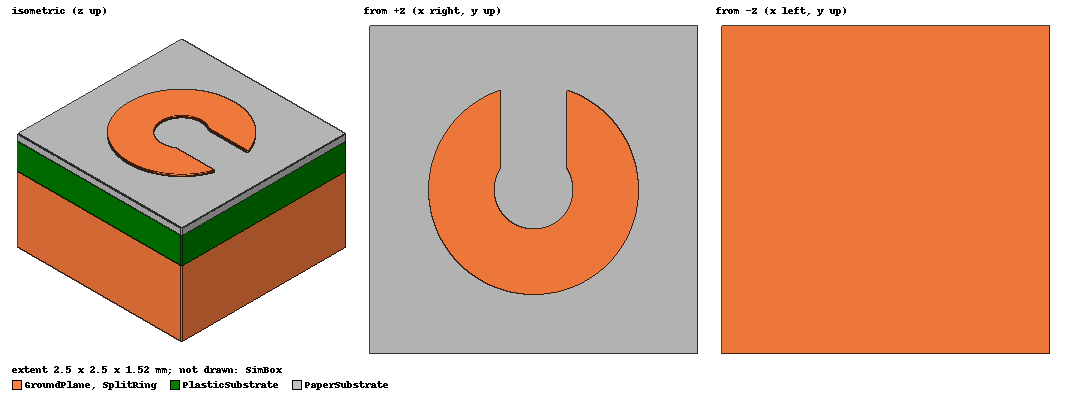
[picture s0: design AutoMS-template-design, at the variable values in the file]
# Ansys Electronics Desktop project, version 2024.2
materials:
  PVC plastic: permittivity=2.7 dielectric_loss_tangent=0.007
  Paper: permittivity=3.78 dielectric_loss_tangent=0.01
  aluminum: permeability=1.000021 conductivity=38000000
  vacuum: permittivity=1

design AutoMS-template-design (HFSS, HFSS Modal Network, model units mm)
options: Save_Adaptive_support_files
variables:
  L = llambda/2  # Surface element spaceing, ie, per element total size
  H = 0.1mm  # Thickness of the paper substrate paper
  H_a = llambda/2  # Not used! Extra air space above the pattern, for floquetPort simulation accuracy
  llambda = 5mm  # Wavelength of the target operating frequency band, To ensure that we have at least half wavelength air space above the pattern to allow accurate FloquetPort simulation
  h_pvc = 0.4mm  # Thickness of the PVC substrate layer, including the two air gaps
  t_metal = 20um  # thickness of the metallic pattern printed
  R1 = 0.8mm  # Outter circle radius of the split ring pattern
  R2 = R1-Rw  # Inner circle radius
  G = 0.5mm  # Gap of the split ring opening
  G_angle = 0deg  # Rotation Angle of the split ring pattern, orientation of the C shaped opening
  Rw = 0.5mm  # Radius difference between the two circles of the split ring pattern, ie, width of the C shaped pattern
  t_plate = 1mm  # Thickness of the ground plane metal plate
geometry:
  SimBox [vacuum] = box(corner=(0mm, 0mm, -llambda/2-t_plate), size=(L, L, llambda+H_a+(h+h_pvc+t_metal)+t_plate))
  coordinate_system RelativeCS1 = origin=(L/2, L/2, 0mm) x=(1mm, 0mm, 0mm) y=(0mm, 1mm, 0mm)
  GroundPlane [aluminum] = rectangle(corner=(-L/2, -L/2, -t_plate), x_size=L, y_size=L) in RelativeCS1
  GroundPlane.thicken(t_plate)
  PaperSubstrate [Paper] = box(corner=(0mm, 0mm, h_pvc), size=(L, L, h))
  PlasticSubstrate [PVC plastic] = box(corner=(0mm, 0mm, 0mm), size=(L, L, h_pvc))
  SplitRing [aluminum] = circle(normal=Z, centre=(0, 0, h_pvc+h), radius=R1) in RelativeCS1
  SplitRing.thicken(t_metal)
  Circle2 = circle(normal=Z, centre=(0, 0, h_pvc+h), radius=R2) in RelativeCS1
  Circle2.thicken(t_metal)
  SplitRing.subtract(Circle2)
  Rectangle26 = rectangle(corner=(-G/2, 0mm, h_pvc+h), x_size=G, y_size=R1) in RelativeCS1
  Rectangle26.thicken(t_metal)
  Rectangle26.rotate(axis=Z, angle=G_angle) in RelativeCS1
  SplitRing.subtract(Rectangle26)
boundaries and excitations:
  Master1: Primary Faces=SimBox.face(-y) CoordSysVector{(0, 0, 0.56693801) -> (2.5, 0, 0.56693801)} ReverseV
  Master2: Primary Faces=SimBox.face(-x) CoordSysVector{(0, 0, 0.56693801) -> (0, 2.5, 0.56693801)}
  Slave1: Secondary Faces=SimBox.face(+y) CoordSysVector{(0, 2.5, 0.56693801) -> (2.5, 2.5, 0.56693801)} primary=Master1 PhaseDelay=UseScanAngle Phi=0 Theta=0
  Slave2: Secondary Faces=SimBox.face(+x) CoordSysVector{(2.5, 0, 0.56693801) -> (2.5, 2.5, 0.56693801)} ReverseV primary=Master2 PhaseDelay=UseScanAngle Phi=0 Theta=0
  FloquetPort1: Floquet Port Faces=SimBox.face(+z) NumModes=2 DeembedDist=llambda/2+h_a Modes{Mode1{CharImp=Zpi} Mode2{CharImp=Zpi}} PhaseDelay=UseScanAngle Phi=0 Theta=0 LatticeAVector{(0, 0, 5.52) -> (2.5, 0, 5.52)} LatticeBVector{(0, 0, 5.52) -> (0, 2.5, 5.52)} ModesList{Mode{ModeNumber=1 IndexM=0 IndexN=0 KC2=0 PropagationState=Propagating Attenuation=0 PolarizationState=TE AffectsRefinement} Mode{ModeNumber=2 IndexM=0 IndexN=0 KC2=0 PropagationState=Propagating Attenuation=0 PolarizationState=TM AffectsRefinement}}
  FloquetPort2: Floquet Port Faces=SimBox.face(-z) NumModes=2 DeembedDist=llambda/2 Modes{Mode1{CharImp=Zpi} Mode2{CharImp=Zpi}} PhaseDelay=UseScanAngle Phi=0 Theta=0 LatticeAVector{(0, 0, -3.5) -> (2.5, 0, -3.5)} LatticeBVector{(0, 0, -3.5) -> (0, 2.5, -3.5)} ModesList{Mode{ModeNumber=1 IndexM=0 IndexN=0 KC2=0 PropagationState=Propagating Attenuation=0 PolarizationState=TE AffectsRefinement} Mode{ModeNumber=2 IndexM=0 IndexN=0 KC2=0 PropagationState=Propagating Attenuation=0 PolarizationState=TM AffectsRefinement}}
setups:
  Setup1: HfssDriven Frequency=80GHz MaxDeltaS=0.001 MaximumPasses=10 MinimumPasses=1 MinimumConvergedPasses=1 PercentRefinement=30 BasisOrder=1 PortAccuracy=2 DrivenSolverType="Direct Solver"
    sweep Sweep: 40GHz to 80GHz, 401 points; Type=Interpolating InterpTolerance=0.5 InterpMaxSolns=250 InterpUsePortImped=false PassivityErrorTolerance=0.0001
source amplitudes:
  FloquetPort1:1: 1W 0deg
  FloquetPort1:2, FloquetPort2:1, FloquetPort2:2: 0W 0deg
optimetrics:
  param_sweep: Parametric Sim._Setups=[Setup1]
    sweep R1: LIN 0.6mm 1.1mm 0.1mm
    sweep G: LIN 0.3mm 0.5mm 0.2mm
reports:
  S Parameter Plot 1: dB(S(FloquetPort1:2,FloquetPort1:2)) vs Freq on Setup1 : Sweep
  S Parameter Plot 2: cang_deg(S(FloquetPort1:2,FloquetPort1:2)) vs Freq on Setup1 : Sweep [R1=all G=all]; markers MX1 at x=5.9999041e+10
